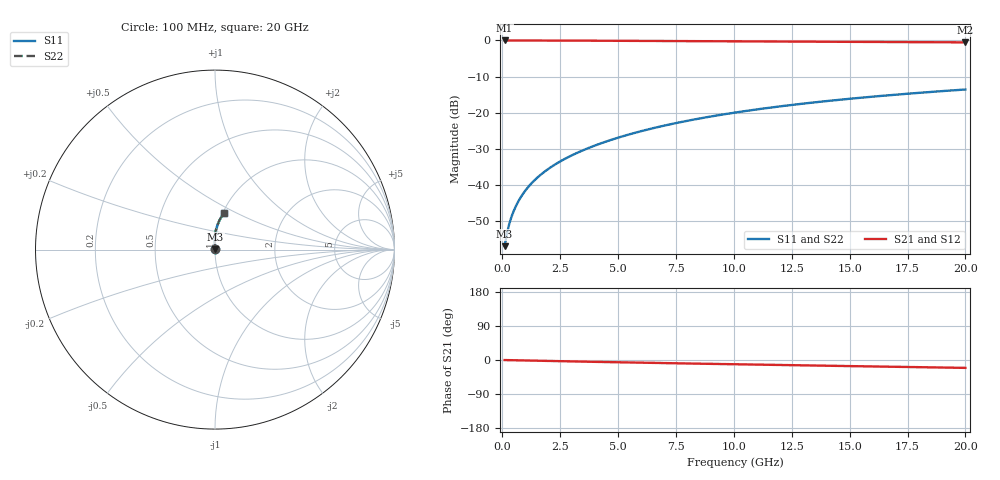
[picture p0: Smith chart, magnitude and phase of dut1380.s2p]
! Touchstone file exported from HFSS 2024.1.0
!  File:  C:/UserFiles/LocalFiles/RDL_TSV_Batchsim/temp_RDL_bottom_1380_1780371562.aedt
!  Generated:  11:41:57 AM Jun  2, 2026
!  Design:  RDL_bottom
!  Project:  temp_RDL_bottom_1380_1780371562
!  Setup:  Setup1
!  Solution:  Sweep
! Variables:
!  dtsv = 10.80580581um
!  hbump = 3um
!  htsv = 54.67um
!  ldown = 275.56um
!  lrdl = 100um
!  p = 40
!  p1 = 54.54um
!  rhole = 1um
!  t = 450um
!  tdown = 4.17um
!  trdl = 3.915915916um
!  wdown = 26.88um
!  wrdl = 20um
# GHz S MA R 50.000000
! Terminal data exported
! Port[1] = RDL1_T1
! Port[2] = RDL1_T2
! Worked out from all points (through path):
!   200 points, 100 MHz to 20 GHz, reference 50 ohm
!   highest |S21| = -0.01 dB at 100 MHz (marker M1); lowest = -0.5 dB at 20 GHz (marker M2)
!   group delay of S21, straight-line fit = 2.84 ps
!   lowest |S11| = -57.0 dB at 100 MHz (marker M3), VSWR 1.00, Z = 50.1 + j0.0922 ohm
!   |S11| at or under -10 dB: start of sweep to end of sweep
!   |S22| runs from -57.0 to -13.6 dB; largest |S21 - S12| = 2e-15
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0.1  0.001417 40.5  0.9989 -0.1  0.9989 -0.1  0.001417 40.5
! Gamma 0 0 0 0
! Port Impedance 50 0 50 0
0.2  0.002121 57.3  0.9988 -0.3  0.9988 -0.3  0.002121 57.3
0.3  0.002872 65.4  0.9987 -0.4  0.9987 -0.4  0.002872 65.4
0.4  0.003632 70.3  0.9986 -0.5  0.9986 -0.5  0.003632 70.3
0.5  0.004401 73.7  0.9986 -0.6  0.9986 -0.6  0.004401 73.7
0.6  0.005181 76.3  0.9985 -0.8  0.9985 -0.8  0.005181 76.3
0.8  0.006764 79.9  0.9983 -1.0  0.9983 -1.0  0.006764 79.9
1.1  0.009189 83.2  0.998 -1.4  0.998 -1.4  0.009189 83.2
1.5  0.0125 85.9  0.9974 -1.9  0.9974 -1.9  0.0125 85.9
1.8  0.01503 87.3  0.9969 -2.3  0.9969 -2.3  0.01503 87.3
2.1  0.0176 88.4  0.9963 -2.6  0.9963 -2.6  0.0176 88.4
2.7  0.0229 89.9  0.9949 -3.3  0.9949 -3.3  0.0229 89.9
3.5  0.03027 91.1  0.9926 -4.3  0.9926 -4.3  0.03027 91.1
4.2  0.03701 91.7  0.9905 -5.1  0.9905 -5.1  0.03701 91.7
5  0.04503 91.9  0.9878 -6.0  0.9878 -6.0  0.04503 91.9
5.9  0.05439 91.8  0.9847 -7.0  0.9847 -7.0  0.05439 91.8
6.8  0.06405 91.3  0.9815 -7.9  0.9815 -7.9  0.06405 91.3
8.4  0.0817 90.0  0.9761 -9.6  0.9761 -9.6  0.08171 90.0
10.1  0.1008 88.2  0.9705 -11.3  0.9705 -11.3  0.1008 88.2
13.4  0.1379 84.3  0.9602 -14.5  0.9602 -14.5  0.1379 84.3
16.7  0.1742 80.2  0.9503 -17.7  0.9503 -17.7  0.1742 80.2
20  0.2092 76.4  0.9402 -20.8  0.9402 -20.8  0.2092 76.4
